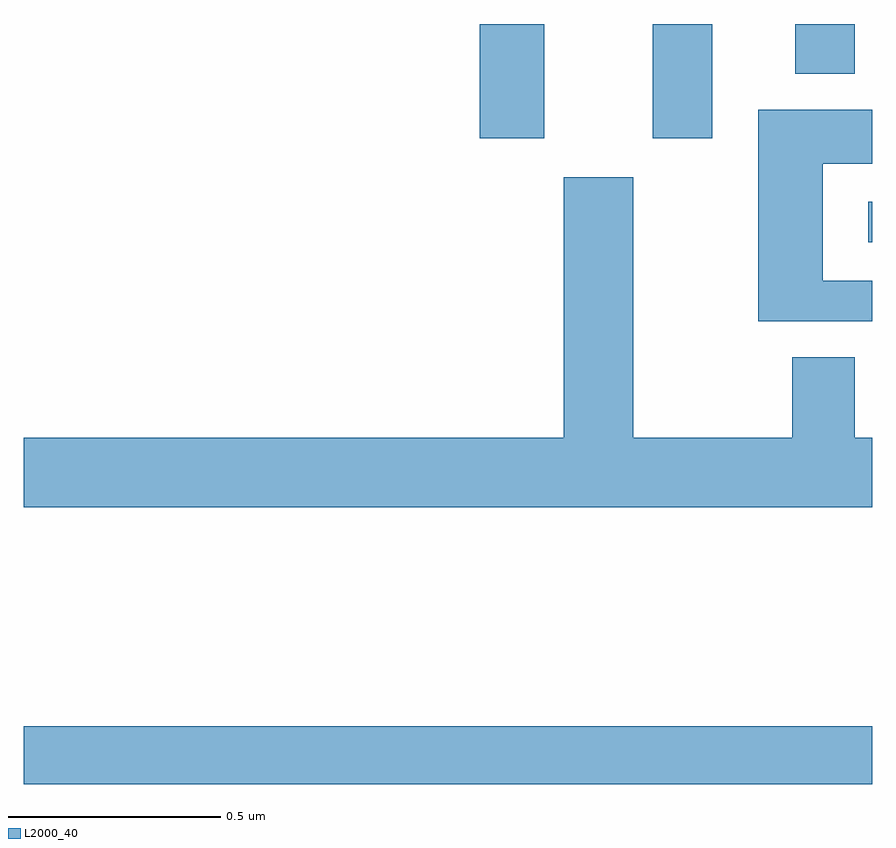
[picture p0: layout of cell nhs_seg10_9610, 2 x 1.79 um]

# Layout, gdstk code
import gdstk
lib = gdstk.Library(unit=1e-6, precision=1e-09)
def R(c, l, rs):  # rectangles x0, y0, x1, y1
    for r in rs: c.add(gdstk.rectangle(r[:2], r[2:], *l))
def P(c, l, *ps):  # polygons
    for p in ps: c.add(gdstk.Polygon(p, *l))
L2000_40 = (2000, 40)

nhs_seg10_9610 = lib.new_cell('nhs_seg10_9610')
R(nhs_seg10_9610, L2000_40, [(232,1255.708,234,1255.844), (233.991,1256.985,234,1257.081), (233.075,1257.231,233.227,1257.5), (233.483,1257.231,233.623,1257.5), (233.819,1257.383,233.959,1257.5)])
P(nhs_seg10_9610, L2000_40, [(234,1256.895),(233.884,1256.895),(233.884,1257.17),(234,1257.17),(234,1257.298),(233.731,1257.298),(233.731,1256.799),(234,1256.799)],
  [(234,1256.524),(233.959,1256.524),(233.959,1256.714),(233.812,1256.714),(233.812,1256.524),(233.437,1256.524),(233.437,1257.139),(233.273,1257.139),(233.273,1256.524),(232,1256.524),(232,1256.36),(234,1256.36)])

lib.write_gds('nhs_seg10_9610.gds')
